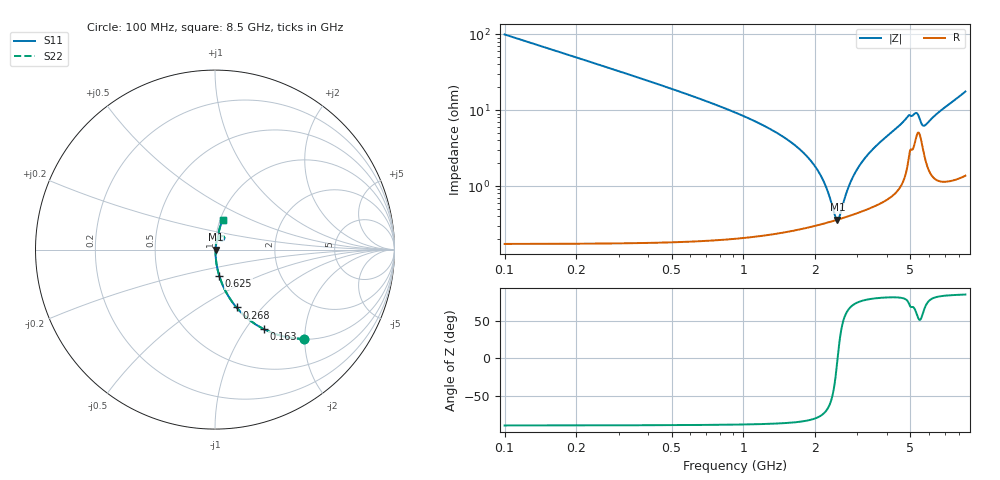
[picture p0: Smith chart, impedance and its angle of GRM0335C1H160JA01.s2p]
!Murata Part Number: GRM0335C1H160JA01
!These Parameters are Measured in Series Mode Connection
!Data Generated on Mar 30, 2021
!  o--ll--o
!Port1  Port2
!  o------o
!Operation Temp=25[degC], DC Bias Voltage=0[V]
!Freq. Start=100[MHz] Stop=9[GHz] 401[Steps]
# Hz S RI R 50
!Freq.(Hz) S11(Real) S11(Imag) S21(Real) S21(Imag) S12(Real) S12(Imag) S22(Real) S22(Imag)
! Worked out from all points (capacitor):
!   401 points, 100 MHz to 8.5 GHz, reference 50 ohm
!   read as one part in series: C = 16 pF near 142 MHz
!   lowest |Z| = 360 mohm at 2.473 GHz (marker M1)
!   series resonance near 2.479 GHz, so ESL is about 260 pH
!   S11 on the Smith chart (normalised r, x): 100 MHz: 1.00, -1.99; 163 MHz: 1.00, -1.22; 268 MHz: 1.00, -0.73; 625 MHz: 1.00, -0.30; 8.5 GHz: 1.03, +0.35
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1e8  0.4966 -0.4991  0.5034 0.4991  0.5034 0.4991  0.4966 -0.4991
1.63e8  0.2703 -0.4427  0.7297 0.4427  0.7297 0.4427  0.2703 -0.4427
2.68e8  0.1198 -0.3224  0.8802 0.3224  0.8802 0.3224  0.1198 -0.3224
4.15e8  0.0531 -0.2204  0.9469 0.2204  0.9469 0.2204  0.0531 -0.2204
6.25e8  0.0235 -0.1455  0.9765 0.1455  0.9765 0.1455  0.0235 -0.1455
1.507e9  0.00422 -0.0418  0.9958 0.0418  0.9958 0.0418  0.00422 -0.0418
1.822e9  0.00343 -0.0253  0.9966 0.0253  0.9966 0.0253  0.00343 -0.0253
2.053e9  0.00328 -0.0154  0.9967 0.0154  0.9967 0.0154  0.00328 -0.0154
2.221e9  0.00333 -0.009  0.9967 0.009  0.9967 0.009  0.00333 -0.009
2.41e9  0.0035 -0.00232  0.9965 0.00232  0.9965 0.00232  0.0035 -0.00232
2.473e9  0.00358 -0.000198  0.9964 0.000198  0.9964 0.000198  0.00358 -0.000198
2.536e9  0.00367 0.00188  0.9963 -0.00188  0.9963 -0.00188  0.00367 0.00188
2.746e9  0.00405 0.00851  0.996 -0.00851  0.996 -0.00851  0.00405 0.00851
2.914e9  0.00442 0.0136  0.9956 -0.0136  0.9956 -0.0136  0.00442 0.0136
3.145e9  0.00503 0.0203  0.995 -0.0203  0.995 -0.0203  0.00503 0.0203
3.439e9  0.00599 0.0286  0.994 -0.0286  0.994 -0.0286  0.00599 0.0286
4.3e9  0.0107 0.0537  0.9893 -0.0537  0.9893 -0.0537  0.0107 0.0537
4.909e9  0.0279 0.0777  0.9721 -0.0777  0.9721 -0.0777  0.0279 0.0777
5.266e9  0.0458 0.0748  0.9542 -0.0748  0.9542 -0.0748  0.0458 0.0748
5.707e9  0.0284 0.0535  0.9716 -0.0535  0.9716 -0.0535  0.0284 0.0535
7.114e9  0.0236 0.1095  0.9764 -0.1095  0.9764 -0.1095  0.0236 0.1095
8.5e9  0.0422 0.1657  0.9578 -0.1657  0.9578 -0.1657  0.0422 0.1657
